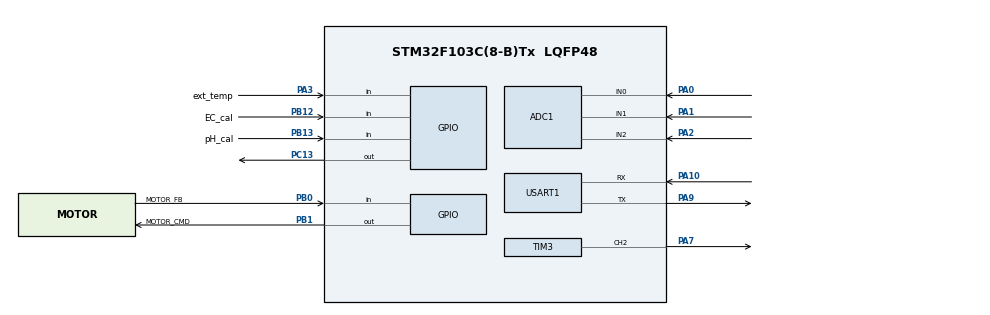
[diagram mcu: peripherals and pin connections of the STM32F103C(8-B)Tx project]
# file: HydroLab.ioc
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ADC1.Channel-0\#ChannelRegularConversion=ADC_CHANNEL_0
ADC1.NbrOfConversionFlag=1
ADC1.Rank-0\#ChannelRegularConversion=1
ADC1.SamplingTime-0\#ChannelRegularConversion=ADC_SAMPLETIME_1CYCLE_5
ADC1.master=1
Mcu.Family=STM32F1
Mcu.Name=STM32F103C(8-B)Tx
Mcu.Package=LQFP48
NVIC.PriorityGroup=NVIC_PRIORITYGROUP_4
NVIC.USART1_IRQn=true\:0\:0\:false\:false\:true\:true\:true\:true
PA0-WKUP.Signal=ADCx_IN0
PA1.Signal=ADCx_IN1
PA10.Mode=Asynchronous
PA10.Signal=USART1_RX
PA2.Signal=ADCx_IN2
PA3.GPIO_Label=ext_temp
PA3.Signal=GPIO_Input
PA7.Signal=S_TIM3_CH2
PA9.Mode=Asynchronous
PA9.Signal=USART1_TX
PB0.GPIO_Label=MOTOR_FB
PB0.Signal=GPIO_Input
PB1.GPIO_Label=MOTOR_CMD
PB1.Signal=GPIO_Output
PB12.GPIO_Label=EC_cal
PB12.GPIO_PuPd=GPIO_PULLUP
PB12.Signal=GPIO_Input
PB13.GPIO_Label=pH_cal
PB13.GPIO_PuPd=GPIO_PULLUP
PB13.Signal=GPIO_Input
PC13-TAMPER-RTC.Signal=GPIO_Output
ProjectManager.HeapSize=0x200
ProjectManager.StackSize=0x400
ProjectManager.TargetToolchain=STM32CubeIDE
RCC.APB1Freq_Value=8000000
RCC.APB2Freq_Value=8000000
SH.ADCx_IN0.0=ADC1_IN0,IN0
SH.ADCx_IN1.0=ADC1_IN1,IN1
SH.ADCx_IN2.0=ADC1_IN2,IN2
SH.S_TIM3_CH2.0=TIM3_CH2,PWM Generation2 CH2
TIM3.Channel-PWM\ Generation2\ CH2=TIM_CHANNEL_2
TIM3.Period=20000-1
TIM3.Prescaler=8-1
USART1.VirtualMode=VM_ASYNC
VP_SYS_VS_ND.Mode=No_Debug
VP_TIM2_VS_ClockSourceINT.Mode=Internal
board=custom

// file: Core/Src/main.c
/* USER CODE BEGIN Header */
/**
  ******************************************************************************
  * @file           : main.c
  * @brief          : Main program body
  ******************************************************************************
  * @attention
  *
  * Copyright (c) 2026 STMicroelectronics.
  * All rights reserved.
  *
  * This software is licensed under terms that can be found in the LICENSE file
  * in the root directory of this software component.
  * If no LICENSE file comes with this software, it is provided AS-IS.
  *
  ******************************************************************************
  */
/* USER CODE END Header */
#include "main.h"

/* USER CODE BEGIN Includes */
#include "flash.h"
#include "sensors.h"
#include "calibration.h"
#include "error_handler.h"
#include "uart_cmd.h"
/* USER CODE END Includes */

ADC_HandleTypeDef hadc1;

TIM_HandleTypeDef htim2;
TIM_HandleTypeDef htim3;

UART_HandleTypeDef huart1;

/* USER CODE BEGIN PV */
ADC_ChannelConfTypeDef sConfig;
/* USER CODE END PV */

void SystemClock_Config(void);
static void MX_GPIO_Init(void);
static void MX_ADC1_Init(void);
static void MX_USART1_UART_Init(void);
static void MX_TIM2_Init(void);
static void MX_TIM3_Init(void);

int main(void)
{

  /* MCU Configuration--------------------------------------------------------*/

  /* Reset of all peripherals, Initializes the Flash interface and the Systick. */
  HAL_Init();

  /* Configure the system clock */
  SystemClock_Config();

  /* Initialize all configured peripherals */
  MX_GPIO_Init();
  MX_ADC1_Init();
  MX_USART1_UART_Init();
  MX_TIM2_Init();
  MX_TIM3_Init();
  /* USER CODE BEGIN 2 */
  // Odczyt wartosci K - dla EC
  Flash_Read_K(&k_val, &huart1);
  // Odczyt 2 pkt 4pH i 7pH
  Flash_Read_PH(&neutralVoltage, &acidVoltage, &huart1);
  // Uart takze do odczytywania komend
  UartCmd_Init(&huart1, &htim3);
  // PWM dla servo
  HAL_TIM_PWM_Start(&htim3, TIM_CHANNEL_2);
  __HAL_TIM_SET_COMPARE(&htim3, TIM_CHANNEL_2, 2000);
  /* USER CODE END 2 */

  /* Infinite loop */
  while (1)
  {

    /* USER CODE BEGIN 3 */
	  uint32_t now = HAL_GetTick();

	  // task mrugania LED w tle
	  static uint32_t last_blink = 0;
	  if (now - last_blink >= 100)
	  {
		 ErrorBlink_Task();

		 last_blink = now;
	  }

	  // Measurements
	  static uint32_t last_meas = 0;
	  if (now - last_meas >= 1000) {
		  // Temperature
		  float noise = ((float)(rand() % 201) / 100.0f) - 1.0f;
		  temp = 16.0 +  noise;//get_temperature(&hadc1);
		  // EC
		  ec = get_EC(&hadc1);
		  // pH
		  ph = get_pH(&hadc1);
		  // UART frame with measurements
		  if (UartCmd_MeasEnabled())
			  send_measurements(&huart1);
		  // Sprawdz errory
		  check_errors();

		  last_meas = now;
	  }

	  // Calibration
	  // Kalibracja EC
	  EC_calibration_task(&hadc1, &huart1);
	  // Kalibracja PH
	  pH_calibration_task(&hadc1, &huart1);

	  // Odczyt komend z Uarta
	  UartCmd_Task();

	  HAL_Delay (100);
  }
  /* USER CODE END 3 */
}

void SystemClock_Config(void)
{
  RCC_OscInitTypeDef RCC_OscInitStruct = {0};
  RCC_ClkInitTypeDef RCC_ClkInitStruct = {0};
  RCC_PeriphCLKInitTypeDef PeriphClkInit = {0};

  /** Initializes the RCC Oscillators according to the specified parameters
  * in the RCC_OscInitTypeDef structure.
  */
  RCC_OscInitStruct.OscillatorType = RCC_OSCILLATORTYPE_HSI;
  RCC_OscInitStruct.HSIState = RCC_HSI_ON;
  RCC_OscInitStruct.HSICalibrationValue = RCC_HSICALIBRATION_DEFAULT;
  RCC_OscInitStruct.PLL.PLLState = RCC_PLL_NONE;
  if (HAL_RCC_OscConfig(&RCC_OscInitStruct) != HAL_OK)
  {
    Error_Handler();
  }

  /** Initializes the CPU, AHB and APB buses clocks
  */
  RCC_ClkInitStruct.ClockType = RCC_CLOCKTYPE_HCLK|RCC_CLOCKTYPE_SYSCLK
                              |RCC_CLOCKTYPE_PCLK1|RCC_CLOCKTYPE_PCLK2;
  RCC_ClkInitStruct.SYSCLKSource = RCC_SYSCLKSOURCE_HSI;
  RCC_ClkInitStruct.AHBCLKDivider = RCC_SYSCLK_DIV1;
  RCC_ClkInitStruct.APB1CLKDivider = RCC_HCLK_DIV1;
  RCC_ClkInitStruct.APB2CLKDivider = RCC_HCLK_DIV1;

  if (HAL_RCC_ClockConfig(&RCC_ClkInitStruct, FLASH_LATENCY_0) != HAL_OK)
  {
    Error_Handler();
  }
  PeriphClkInit.PeriphClockSelection = RCC_PERIPHCLK_ADC;
  PeriphClkInit.AdcClockSelection = RCC_ADCPCLK2_DIV2;
  if (HAL_RCCEx_PeriphCLKConfig(&PeriphClkInit) != HAL_OK)
  {
    Error_Handler();
  }
}

static void MX_ADC1_Init(void)
{

  ADC_ChannelConfTypeDef sConfig = {0};

  /** Common config
  */
  hadc1.Instance = ADC1;
  hadc1.Init.ScanConvMode = ADC_SCAN_DISABLE;
  hadc1.Init.ContinuousConvMode = DISABLE;
  hadc1.Init.DiscontinuousConvMode = DISABLE;
  hadc1.Init.ExternalTrigConv = ADC_SOFTWARE_START;
  hadc1.Init.DataAlign = ADC_DATAALIGN_RIGHT;
  hadc1.Init.NbrOfConversion = 1;
  if (HAL_ADC_Init(&hadc1) != HAL_OK)
  {
    Error_Handler();
  }

  /** Configure Regular Channel
  */
  sConfig.Channel = ADC_CHANNEL_0;
  sConfig.Rank = ADC_REGULAR_RANK_1;
  sConfig.SamplingTime = ADC_SAMPLETIME_1CYCLE_5;
  if (HAL_ADC_ConfigChannel(&hadc1, &sConfig) != HAL_OK)
  {
    Error_Handler();
  }
  /* USER CODE BEGIN ADC1_Init 2 */
  HAL_ADCEx_Calibration_Start(&hadc1);
  /* USER CODE END ADC1_Init 2 */

}

static void MX_TIM2_Init(void)
{

  TIM_ClockConfigTypeDef sClockSourceConfig = {0};
  TIM_MasterConfigTypeDef sMasterConfig = {0};

  htim2.Instance = TIM2;
  htim2.Init.Prescaler = 0;
  htim2.Init.CounterMode = TIM_COUNTERMODE_UP;
  htim2.Init.Period = 65535;
  htim2.Init.ClockDivision = TIM_CLOCKDIVISION_DIV1;
  htim2.Init.AutoReloadPreload = TIM_AUTORELOAD_PRELOAD_DISABLE;
  if (HAL_TIM_Base_Init(&htim2) != HAL_OK)
  {
    Error_Handler();
  }
  sClockSourceConfig.ClockSource = TIM_CLOCKSOURCE_INTERNAL;
  if (HAL_TIM_ConfigClockSource(&htim2, &sClockSourceConfig) != HAL_OK)
  {
    Error_Handler();
  }
  sMasterConfig.MasterOutputTrigger = TIM_TRGO_RESET;
  sMasterConfig.MasterSlaveMode = TIM_MASTERSLAVEMODE_DISABLE;
  if (HAL_TIMEx_MasterConfigSynchronization(&htim2, &sMasterConfig) != HAL_OK)
  {
    Error_Handler();
  }

}

static void MX_TIM3_Init(void)
{

  TIM_MasterConfigTypeDef sMasterConfig = {0};
  TIM_OC_InitTypeDef sConfigOC = {0};

  htim3.Instance = TIM3;
  htim3.Init.Prescaler = 8-1;
  htim3.Init.CounterMode = TIM_COUNTERMODE_UP;
  htim3.Init.Period = 20000-1;
  htim3.Init.ClockDivision = TIM_CLOCKDIVISION_DIV1;
  htim3.Init.AutoReloadPreload = TIM_AUTORELOAD_PRELOAD_DISABLE;
  if (HAL_TIM_PWM_Init(&htim3) != HAL_OK)
  {
    Error_Handler();
  }
  sMasterConfig.MasterOutputTrigger = TIM_TRGO_RESET;
  sMasterConfig.MasterSlaveMode = TIM_MASTERSLAVEMODE_DISABLE;
  if (HAL_TIMEx_MasterConfigSynchronization(&htim3, &sMasterConfig) != HAL_OK)
  {
    Error_Handler();
  }
  sConfigOC.OCMode = TIM_OCMODE_PWM1;
  sConfigOC.Pulse = 0;
  sConfigOC.OCPolarity = TIM_OCPOLARITY_HIGH;
  sConfigOC.OCFastMode = TIM_OCFAST_DISABLE;
  if (HAL_TIM_PWM_ConfigChannel(&htim3, &sConfigOC, TIM_CHANNEL_2) != HAL_OK)
  {
    Error_Handler();
  }
  HAL_TIM_MspPostInit(&htim3);

}

static void MX_USART1_UART_Init(void)
{

  huart1.Instance = USART1;
  huart1.Init.BaudRate = 115200;
  huart1.Init.WordLength = UART_WORDLENGTH_8B;
  huart1.Init.StopBits = UART_STOPBITS_1;
  huart1.Init.Parity = UART_PARITY_NONE;
  huart1.Init.Mode = UART_MODE_TX_RX;
  huart1.Init.HwFlowCtl = UART_HWCONTROL_NONE;
  huart1.Init.OverSampling = UART_OVERSAMPLING_16;
  if (HAL_UART_Init(&huart1) != HAL_OK)
  {
    Error_Handler();
  }

}

static void MX_GPIO_Init(void)
{
  GPIO_InitTypeDef GPIO_InitStruct = {0};

  /* GPIO Ports Clock Enable */
  __HAL_RCC_GPIOC_CLK_ENABLE();
  __HAL_RCC_GPIOA_CLK_ENABLE();
  __HAL_RCC_GPIOB_CLK_ENABLE();

  /*Configure GPIO pin Output Level */
  HAL_GPIO_WritePin(GPIOC, GPIO_PIN_13, GPIO_PIN_RESET);

  /*Configure GPIO pin Output Level */
  HAL_GPIO_WritePin(MOTOR_CMD_GPIO_Port, MOTOR_CMD_Pin, GPIO_PIN_RESET);

  /*Configure GPIO pin : PC13 */
  GPIO_InitStruct.Pin = GPIO_PIN_13;
  GPIO_InitStruct.Mode = GPIO_MODE_OUTPUT_PP;
  GPIO_InitStruct.Pull = GPIO_NOPULL;
  GPIO_InitStruct.Speed = GPIO_SPEED_FREQ_LOW;
  HAL_GPIO_Init(GPIOC, &GPIO_InitStruct);

  /*Configure GPIO pin : ext_temp_Pin */
  GPIO_InitStruct.Pin = ext_temp_Pin;
  GPIO_InitStruct.Mode = GPIO_MODE_INPUT;
  GPIO_InitStruct.Pull = GPIO_NOPULL;
  HAL_GPIO_Init(ext_temp_GPIO_Port, &GPIO_InitStruct);

  /*Configure GPIO pin : MOTOR_FB_Pin */
  GPIO_InitStruct.Pin = MOTOR_FB_Pin;
  GPIO_InitStruct.Mode = GPIO_MODE_INPUT;
  GPIO_InitStruct.Pull = GPIO_NOPULL;
  HAL_GPIO_Init(MOTOR_FB_GPIO_Port, &GPIO_InitStruct);

  /*Configure GPIO pin : MOTOR_CMD_Pin */
  GPIO_InitStruct.Pin = MOTOR_CMD_Pin;
  GPIO_InitStruct.Mode = GPIO_MODE_OUTPUT_PP;
  GPIO_InitStruct.Pull = GPIO_NOPULL;
  GPIO_InitStruct.Speed = GPIO_SPEED_FREQ_LOW;
  HAL_GPIO_Init(MOTOR_CMD_GPIO_Port, &GPIO_InitStruct);

  /*Configure GPIO pins : EC_cal_Pin pH_cal_Pin */
  GPIO_InitStruct.Pin = EC_cal_Pin|pH_cal_Pin;
  GPIO_InitStruct.Mode = GPIO_MODE_INPUT;
  GPIO_InitStruct.Pull = GPIO_PULLUP;
  HAL_GPIO_Init(GPIOB, &GPIO_InitStruct);

}

void Error_Handler(void)
{
  __disable_irq();
  while (1)
  {
  }
}
